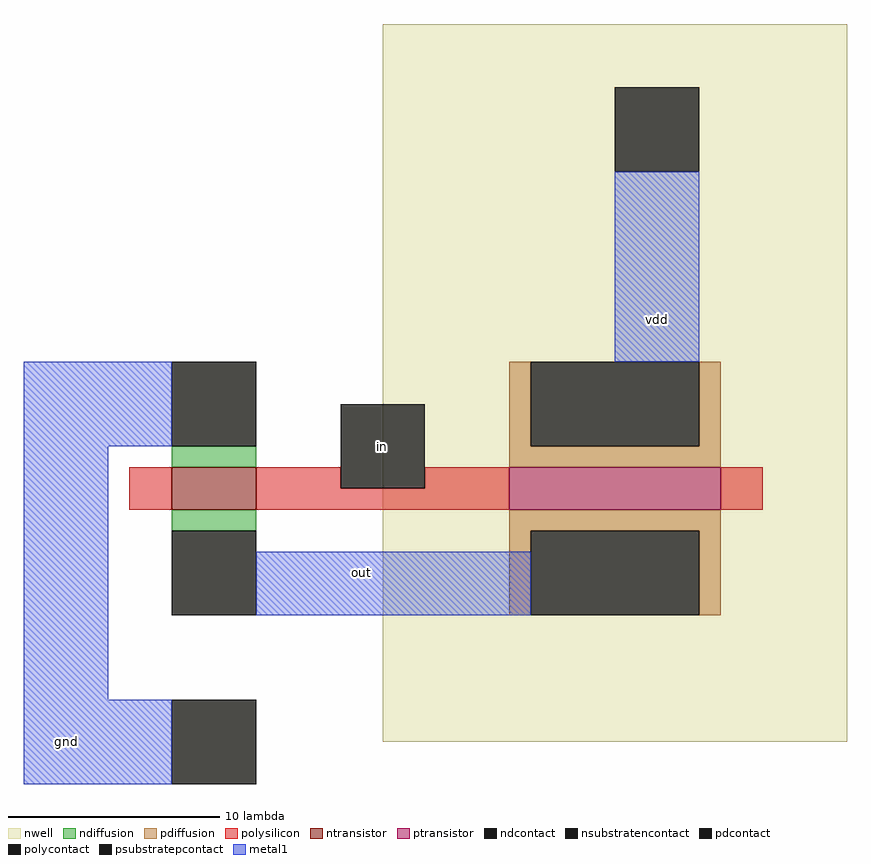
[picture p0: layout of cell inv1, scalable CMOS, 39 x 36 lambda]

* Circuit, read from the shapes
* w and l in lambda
.subckt inv1 gnd in out vdd
M1 gnd in out gnd nfet w=4 l=2
M2 vdd in out vdd pfet w=10 l=2
.ends

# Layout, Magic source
magic
tech scmos
<< nwell >>
rect -31 -49 -9 -15
<< ntransistor >>
rect -41 -38 -37 -36
<< ptransistor >>
rect -25 -38 -15 -36
<< ndiffusion >>
rect -41 -36 -37 -35
rect -41 -39 -37 -38
<< pdiffusion >>
rect -25 -35 -24 -31
rect -16 -35 -15 -31
rect -25 -36 -15 -35
rect -25 -39 -15 -38
rect -25 -43 -24 -39
rect -16 -43 -15 -39
<< ndcontact >>
rect -41 -35 -37 -31
rect -41 -43 -37 -39
<< pdcontact >>
rect -24 -35 -16 -31
rect -24 -43 -16 -39
<< psubstratepcontact >>
rect -41 -51 -37 -47
<< nsubstratencontact >>
rect -20 -22 -16 -18
<< polysilicon >>
rect -43 -38 -41 -36
rect -37 -37 -33 -36
rect -29 -37 -25 -36
rect -37 -38 -25 -37
rect -15 -38 -13 -36
<< polycontact >>
rect -33 -37 -29 -33
<< metal1 >>
rect -20 -31 -16 -22
rect -48 -35 -41 -31
rect -48 -47 -44 -35
rect -37 -43 -24 -40
rect -48 -51 -41 -47
<< labels >>
rlabel metal1 -18 -29 -18 -29 7 vdd
rlabel metal1 -32 -41 -32 -41 3 out
rlabel polycontact -31 -35 -31 -35 3 in
rlabel metal1 -46 -49 -46 -49 1 gnd
<< end >>
